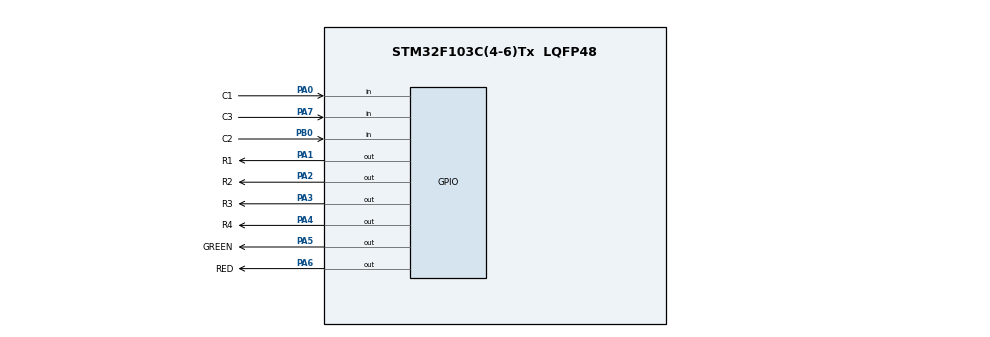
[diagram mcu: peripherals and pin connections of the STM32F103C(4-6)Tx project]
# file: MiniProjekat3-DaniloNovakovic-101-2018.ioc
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Mcu.Family=STM32F1
Mcu.Name=STM32F103C(4-6)Tx
Mcu.Package=LQFP48
NVIC.PriorityGroup=NVIC_PRIORITYGROUP_4
PA0-WKUP.GPIO_Label=C1
PA0-WKUP.Signal=GPIO_Input
PA1.GPIO_Label=R1
PA1.Signal=GPIO_Output
PA2.GPIO_Label=R2
PA2.Signal=GPIO_Output
PA3.GPIO_Label=R3
PA3.Signal=GPIO_Output
PA4.GPIO_Label=R4
PA4.Signal=GPIO_Output
PA5.GPIO_Label=GREEN
PA5.Signal=GPIO_Output
PA6.GPIO_Label=RED
PA6.Signal=GPIO_Output
PA7.GPIO_Label=C3
PA7.Signal=GPIO_Input
PB0.GPIO_Label=C2
PB0.Signal=GPIO_Input
ProjectManager.HeapSize=0x200
ProjectManager.StackSize=0x400
ProjectManager.TargetToolchain=STM32CubeIDE
RCC.APB1Freq_Value=8000000
RCC.APB2Freq_Value=8000000
board=custom

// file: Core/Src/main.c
/* USER CODE BEGIN Header */
/**
  ******************************************************************************
  * @file           : main.c
  * @brief          : Main program body
  ******************************************************************************
  * @attention
  *
  * Copyright (c) 2022 STMicroelectronics.
  * All rights reserved.
  *
  * This software is licensed under terms that can be found in the LICENSE file
  * in the root directory of this software component.
  * If no LICENSE file comes with this software, it is provided AS-IS.
  *
  ******************************************************************************
  */
/* USER CODE END Header */
#include "main.h"
#include "string.h"

/* USER CODE BEGIN PV */

char mojIndeks[3]="101";
char mojUnos[3]="";
/* USER CODE END PV */

void SystemClock_Config(void);
static void MX_GPIO_Init(void);

/* USER CODE BEGIN 0 */
void proveriSifru()
{

	if(strlen(mojUnos) == 3)
	{
		if(strcmp(mojIndeks,mojUnos) == 0)
		{
			HAL_GPIO_WritePin(GREEN_GPIO_Port, GREEN_Pin, 0);
		}
		else
		{
			HAL_GPIO_WritePin(RED_GPIO_Port, RED_Pin, 0);
		}
	}
	else if (strlen(mojUnos) > 3)
	{
		strcpy(mojUnos,"");
		HAL_GPIO_WritePin(GREEN_GPIO_Port, GREEN_Pin, 1);
		HAL_GPIO_WritePin(RED_GPIO_Port, RED_Pin, 1);
		return;
	}
	else{
		return;
	}

}

void ocitaj ()
{
	HAL_GPIO_WritePin (GPIOA, R1_Pin, GPIO_PIN_SET);
	HAL_GPIO_WritePin (GPIOA, R2_Pin, GPIO_PIN_RESET);
	HAL_GPIO_WritePin (GPIOA, R3_Pin, GPIO_PIN_RESET);
	HAL_GPIO_WritePin (GPIOA, R4_Pin, GPIO_PIN_RESET);

	if ((HAL_GPIO_ReadPin (GPIOA, C1_Pin)))
	{
		//1

		while(HAL_GPIO_ReadPin (GPIOA, C1_Pin));
		strcat(mojUnos,"1");
		proveriSifru();

	}

	if ((HAL_GPIO_ReadPin (GPIOB, C2_Pin)))
	{
		//2

		while(HAL_GPIO_ReadPin (GPIOB, C2_Pin));
		strcat(mojUnos,"2");
		proveriSifru();

	}

	if ((HAL_GPIO_ReadPin (GPIOA, C3_Pin)))
	{
		//3

		while(HAL_GPIO_ReadPin (GPIOA, C3_Pin));
		strcat(mojUnos,"3");
		proveriSifru();

	}

	HAL_GPIO_WritePin (GPIOA, R1_Pin, GPIO_PIN_RESET);
	HAL_GPIO_WritePin (GPIOA, R2_Pin, GPIO_PIN_SET);
	HAL_GPIO_WritePin (GPIOA, R3_Pin, GPIO_PIN_RESET);
	HAL_GPIO_WritePin (GPIOA, R4_Pin, GPIO_PIN_RESET);

	if ((HAL_GPIO_ReadPin (GPIOA, C1_Pin)))
	{
		//4

		while(HAL_GPIO_ReadPin (GPIOA, C1_Pin));
		strcat(mojUnos,"4");
		proveriSifru();

	}

	if ((HAL_GPIO_ReadPin (GPIOB, C2_Pin)))
	{
		//5

		while(HAL_GPIO_ReadPin (GPIOB, C2_Pin));
		strcat(mojUnos,"5");
		proveriSifru();

	}

	if ((HAL_GPIO_ReadPin (GPIOA, C3_Pin)))
	{
		//6

		while(HAL_GPIO_ReadPin (GPIOA, C3_Pin));
		strcat(mojUnos,"6");
		proveriSifru();

	}

	HAL_GPIO_WritePin (GPIOA, R1_Pin, GPIO_PIN_RESET);
	HAL_GPIO_WritePin (GPIOA, R2_Pin, GPIO_PIN_RESET);
	HAL_GPIO_WritePin (GPIOA, R3_Pin, GPIO_PIN_SET);
	HAL_GPIO_WritePin (GPIOA, R4_Pin, GPIO_PIN_RESET);

	if ((HAL_GPIO_ReadPin (GPIOA, C1_Pin)))
	{
		//7

		while(HAL_GPIO_ReadPin (GPIOA, C1_Pin));
		strcat(mojUnos,"7");
		proveriSifru();
		//return;
	}

	if ((HAL_GPIO_ReadPin (GPIOB, C2_Pin)))
	{
		//8

		while(HAL_GPIO_ReadPin (GPIOB, C2_Pin));
		strcat(mojUnos,"8");
		proveriSifru();

	}

	if ((HAL_GPIO_ReadPin (GPIOA, C3_Pin)))
	{
		//9

		while(HAL_GPIO_ReadPin (GPIOA, C3_Pin));
		strcat(mojUnos,"9");
		proveriSifru();

	}

	HAL_GPIO_WritePin (GPIOA, R1_Pin, GPIO_PIN_RESET);
	HAL_GPIO_WritePin (GPIOA, R2_Pin, GPIO_PIN_RESET);
	HAL_GPIO_WritePin (GPIOA, R3_Pin, GPIO_PIN_RESET);
	HAL_GPIO_WritePin (GPIOA, R4_Pin, GPIO_PIN_SET);

	if ((HAL_GPIO_ReadPin (GPIOB, C2_Pin)))
	{
		//0

		while(HAL_GPIO_ReadPin (GPIOB, C2_Pin));
		strcat(mojUnos,"0");
		proveriSifru();

	}

}

/* USER CODE END 0 */

int main(void)
{

  /* MCU Configuration--------------------------------------------------------*/

  /* Reset of all peripherals, Initializes the Flash interface and the Systick. */
  HAL_Init();

  /* Configure the system clock */
  SystemClock_Config();

  /* Initialize all configured peripherals */
  MX_GPIO_Init();

  /* Infinite loop */
  while (1)
  {
	  ocitaj();
	  HAL_Delay(50);
  }
}

void SystemClock_Config(void)
{
  RCC_OscInitTypeDef RCC_OscInitStruct = {0};
  RCC_ClkInitTypeDef RCC_ClkInitStruct = {0};

  /** Initializes the RCC Oscillators according to the specified parameters
  * in the RCC_OscInitTypeDef structure.
  */
  RCC_OscInitStruct.OscillatorType = RCC_OSCILLATORTYPE_HSI;
  RCC_OscInitStruct.HSIState = RCC_HSI_ON;
  RCC_OscInitStruct.HSICalibrationValue = RCC_HSICALIBRATION_DEFAULT;
  RCC_OscInitStruct.PLL.PLLState = RCC_PLL_NONE;
  if (HAL_RCC_OscConfig(&RCC_OscInitStruct) != HAL_OK)
  {
    Error_Handler();
  }

  /** Initializes the CPU, AHB and APB buses clocks
  */
  RCC_ClkInitStruct.ClockType = RCC_CLOCKTYPE_HCLK|RCC_CLOCKTYPE_SYSCLK
                              |RCC_CLOCKTYPE_PCLK1|RCC_CLOCKTYPE_PCLK2;
  RCC_ClkInitStruct.SYSCLKSource = RCC_SYSCLKSOURCE_HSI;
  RCC_ClkInitStruct.AHBCLKDivider = RCC_SYSCLK_DIV1;
  RCC_ClkInitStruct.APB1CLKDivider = RCC_HCLK_DIV1;
  RCC_ClkInitStruct.APB2CLKDivider = RCC_HCLK_DIV1;

  if (HAL_RCC_ClockConfig(&RCC_ClkInitStruct, FLASH_LATENCY_0) != HAL_OK)
  {
    Error_Handler();
  }
}

static void MX_GPIO_Init(void)
{
  GPIO_InitTypeDef GPIO_InitStruct = {0};

  /* GPIO Ports Clock Enable */
  __HAL_RCC_GPIOA_CLK_ENABLE();
  __HAL_RCC_GPIOB_CLK_ENABLE();

  /*Configure GPIO pin Output Level */
  HAL_GPIO_WritePin(GPIOA, R1_Pin|R2_Pin|R3_Pin|R4_Pin
                          |GREEN_Pin|RED_Pin, GPIO_PIN_SET);

  /*Configure GPIO pins : C1_Pin C3_Pin */
  GPIO_InitStruct.Pin = C1_Pin|C3_Pin;
  GPIO_InitStruct.Mode = GPIO_MODE_INPUT;
  GPIO_InitStruct.Pull = GPIO_NOPULL;
  HAL_GPIO_Init(GPIOA, &GPIO_InitStruct);

  /*Configure GPIO pins : R1_Pin R2_Pin R3_Pin R4_Pin
                           GREEN_Pin RED_Pin */
  GPIO_InitStruct.Pin = R1_Pin|R2_Pin|R3_Pin|R4_Pin
                          |GREEN_Pin|RED_Pin;
  GPIO_InitStruct.Mode = GPIO_MODE_OUTPUT_PP;
  GPIO_InitStruct.Pull = GPIO_NOPULL;
  GPIO_InitStruct.Speed = GPIO_SPEED_FREQ_LOW;
  HAL_GPIO_Init(GPIOA, &GPIO_InitStruct);

  /*Configure GPIO pin : C2_Pin */
  GPIO_InitStruct.Pin = C2_Pin;
  GPIO_InitStruct.Mode = GPIO_MODE_INPUT;
  GPIO_InitStruct.Pull = GPIO_NOPULL;
  HAL_GPIO_Init(C2_GPIO_Port, &GPIO_InitStruct);

}

void Error_Handler(void)
{
  __disable_irq();
  while (1)
  {
  }
}
